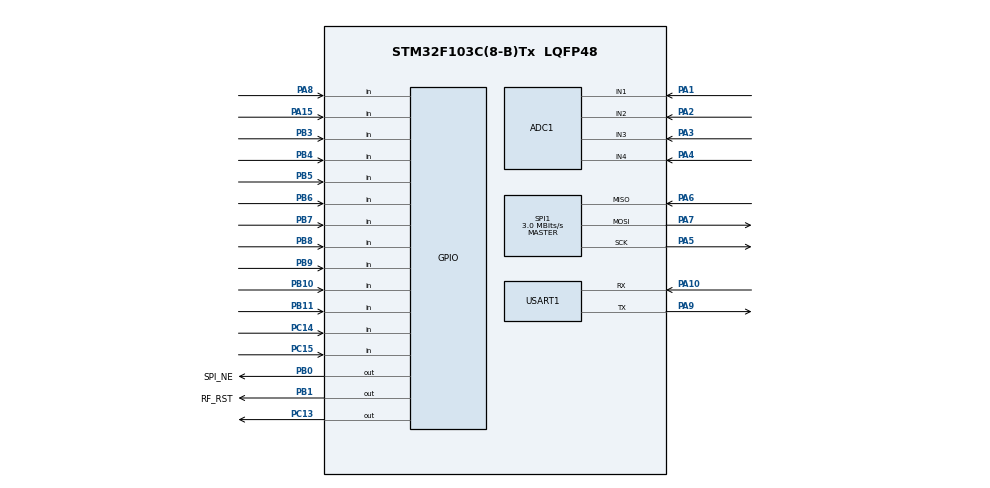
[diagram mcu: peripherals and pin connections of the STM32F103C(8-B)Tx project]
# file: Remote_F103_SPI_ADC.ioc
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ADC1.Channel-3\#ChannelRegularConversion=ADC_CHANNEL_1
ADC1.Channel-4\#ChannelRegularConversion=ADC_CHANNEL_2
ADC1.Channel-5\#ChannelRegularConversion=ADC_CHANNEL_3
ADC1.Channel-6\#ChannelRegularConversion=ADC_CHANNEL_4
ADC1.ContinuousConvMode=ENABLE
ADC1.NbrOfConversion=4
ADC1.NbrOfConversionFlag=1
ADC1.Rank-3\#ChannelRegularConversion=1
ADC1.Rank-4\#ChannelRegularConversion=2
ADC1.Rank-5\#ChannelRegularConversion=3
ADC1.Rank-6\#ChannelRegularConversion=4
ADC1.SamplingTime-3\#ChannelRegularConversion=ADC_SAMPLETIME_55CYCLES_5
ADC1.SamplingTime-4\#ChannelRegularConversion=ADC_SAMPLETIME_55CYCLES_5
ADC1.SamplingTime-5\#ChannelRegularConversion=ADC_SAMPLETIME_55CYCLES_5
ADC1.SamplingTime-6\#ChannelRegularConversion=ADC_SAMPLETIME_55CYCLES_5
ADC1.master=1
Dma.ADC1.0.Direction=DMA_PERIPH_TO_MEMORY
Dma.ADC1.0.Instance=DMA1_Channel1
Dma.ADC1.0.MemDataAlignment=DMA_MDATAALIGN_HALFWORD
Dma.ADC1.0.MemInc=DMA_MINC_ENABLE
Dma.ADC1.0.Mode=DMA_CIRCULAR
Dma.ADC1.0.PeriphDataAlignment=DMA_PDATAALIGN_HALFWORD
Dma.ADC1.0.PeriphInc=DMA_PINC_DISABLE
Dma.ADC1.0.Priority=DMA_PRIORITY_MEDIUM
Dma.Request0=ADC1
Dma.Request1=USART1_RX
Dma.USART1_RX.1.Direction=DMA_PERIPH_TO_MEMORY
Dma.USART1_RX.1.Instance=DMA1_Channel5
Dma.USART1_RX.1.MemDataAlignment=DMA_MDATAALIGN_BYTE
Dma.USART1_RX.1.MemInc=DMA_MINC_ENABLE
Dma.USART1_RX.1.Mode=DMA_NORMAL
Dma.USART1_RX.1.PeriphDataAlignment=DMA_PDATAALIGN_BYTE
Dma.USART1_RX.1.PeriphInc=DMA_PINC_DISABLE
Dma.USART1_RX.1.Priority=DMA_PRIORITY_LOW
Mcu.Family=STM32F1
Mcu.Name=STM32F103C(8-B)Tx
Mcu.Package=LQFP48
NVIC.DMA1_Channel1_IRQn=true\:0\:0\:true\:false\:true\:false\:true
NVIC.DMA1_Channel5_IRQn=true\:0\:0\:false\:false\:true\:false\:true
NVIC.PriorityGroup=NVIC_PRIORITYGROUP_4
PA0-WKUP.Mode=SYS_WakeUp0
PA0-WKUP.Signal=SYS_WKUP
PA1.Signal=ADCx_IN1
PA10.GPIO_PuPd=GPIO_PULLUP
PA10.Mode=Asynchronous
PA10.Signal=USART1_RX
PA13.Mode=Serial_Wire
PA13.Signal=SYS_JTMS-SWDIO
PA14.Mode=Serial_Wire
PA14.Signal=SYS_JTCK-SWCLK
PA15.GPIO_PuPd=GPIO_PULLDOWN
PA15.Signal=GPIO_Input
PA2.Signal=ADCx_IN2
PA3.Signal=ADCx_IN3
PA4.Signal=ADCx_IN4
PA5.Mode=Full_Duplex_Master
PA5.Signal=SPI1_SCK
PA6.Mode=Full_Duplex_Master
PA6.Signal=SPI1_MISO
PA7.Mode=Full_Duplex_Master
PA7.Signal=SPI1_MOSI
PA8.GPIO_PuPd=GPIO_PULLDOWN
PA8.Signal=GPIO_Input
PA9.Mode=Asynchronous
PA9.Signal=USART1_TX
PB0.GPIO_Label=SPI_NE
PB0.GPIO_ModeDefaultOutputPP=GPIO_MODE_OUTPUT_PP
PB0.GPIO_PuPd=GPIO_PULLUP
PB0.GPIO_Speed=GPIO_SPEED_FREQ_HIGH
PB0.Signal=GPIO_Output
PB1.GPIO_Label=RF_RST
PB1.GPIO_ModeDefaultOutputPP=GPIO_MODE_OUTPUT_PP
PB1.GPIO_PuPd=GPIO_PULLUP
PB1.GPIO_Speed=GPIO_SPEED_FREQ_HIGH
PB1.Signal=GPIO_Output
PB10.GPIO_PuPd=GPIO_PULLDOWN
PB10.Signal=GPIO_Input
PB11.GPIO_PuPd=GPIO_PULLDOWN
PB11.Signal=GPIO_Input
PB3.GPIO_PuPd=GPIO_PULLDOWN
PB3.Signal=GPIO_Input
PB4.GPIO_PuPd=GPIO_PULLDOWN
PB4.Signal=GPIO_Input
PB5.GPIO_PuPd=GPIO_PULLDOWN
PB5.Signal=GPIO_Input
PB6.GPIO_PuPd=GPIO_PULLDOWN
PB6.Signal=GPIO_Input
PB7.GPIO_PuPd=GPIO_PULLDOWN
PB7.Signal=GPIO_Input
PB8.GPIO_PuPd=GPIO_PULLDOWN
PB8.Signal=GPIO_Input
PB9.GPIO_PuPd=GPIO_PULLDOWN
PB9.Signal=GPIO_Input
PC13-TAMPER-RTC.GPIO_ModeDefaultOutputPP=GPIO_MODE_OUTPUT_PP
PC13-TAMPER-RTC.GPIO_PuPd=GPIO_PULLUP
PC13-TAMPER-RTC.GPIO_Speed=GPIO_SPEED_FREQ_HIGH
PC13-TAMPER-RTC.Signal=GPIO_Output
PC14-OSC32_IN.GPIO_PuPd=GPIO_PULLDOWN
PC14-OSC32_IN.Signal=GPIO_Input
PC15-OSC32_OUT.GPIO_PuPd=GPIO_PULLDOWN
PC15-OSC32_OUT.Signal=GPIO_Input
PD0-OSC_IN.Mode=HSE-External-Oscillator
PD0-OSC_IN.Signal=RCC_OSC_IN
PD1-OSC_OUT.Mode=HSE-External-Oscillator
PD1-OSC_OUT.Signal=RCC_OSC_OUT
ProjectManager.HeapSize=0x200
ProjectManager.StackSize=0x400
ProjectManager.TargetToolchain=MDK-ARM V5.27
RCC.ADCPresc=RCC_ADCPCLK2_DIV8
RCC.AHBFreq_Value=24000000
RCC.APB1CLKDivider=RCC_HCLK_DIV2
RCC.APB1Freq_Value=12000000
RCC.APB1TimFreq_Value=24000000
RCC.APB2Freq_Value=24000000
RCC.APB2TimFreq_Value=24000000
RCC.HCLKFreq_Value=24000000
RCC.PLLMUL=RCC_PLL_MUL3
RCC.PLLSourceVirtual=RCC_PLLSOURCE_HSE
RCC.SYSCLKFreq_VALUE=24000000
RCC.SYSCLKSource=RCC_SYSCLKSOURCE_PLLCLK
RCC.USBFreq_Value=24000000
SH.ADCx_IN1.0=ADC1_IN1,IN1
SH.ADCx_IN2.0=ADC1_IN2,IN2
SH.ADCx_IN3.0=ADC1_IN3,IN3
SH.ADCx_IN4.0=ADC1_IN4,IN4
SPI1.BaudRatePrescaler=SPI_BAUDRATEPRESCALER_8
SPI1.CalculateBaudRate=3.0 MBits/s
SPI1.Direction=SPI_DIRECTION_2LINES
SPI1.Mode=SPI_MODE_MASTER
SPI1.VirtualType=VM_MASTER
USART1.VirtualMode=VM_ASYNC
board=custom

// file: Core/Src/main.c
/* USER CODE BEGIN Header */
/**
  ******************************************************************************
  * @file           : main.c
  * @brief          : Main program body
  ******************************************************************************
  * @attention
  *
  * <h2><center>&copy; Copyright (c) 2021 STMicroelectronics.
  * All rights reserved.</center></h2>
  *
  * This software component is licensed by ST under BSD 3-Clause license,
  * the "License"; You may not use this file except in compliance with the
  * License. You may obtain a copy of the License at:
  *                        opensource.org/licenses/BSD-3-Clause
  *
  ******************************************************************************
  */
/* USER CODE END Header */
#include "main.h"
#include "adc.h"
#include "dma.h"
#include "spi.h"
#include "usart.h"
#include "gpio.h"

/* USER CODE BEGIN Includes */
#include "stdio.h"
#include "SX1231_APP.h"

/* USER CODE END Includes */

/* USER CODE BEGIN PV */
uint16_t ADC_Val[4];

/* USER CODE END PV */

void SystemClock_Config(void);

int main(void)
{
  /* USER CODE BEGIN 1 */
	int i, a, b, c, d, uart_rx_invalid;
	uint8_t bfr[SX1231_PayloadLength];
	__IO uint8_t UART_Buf[24];
  /* USER CODE END 1 */

  /* MCU Configuration--------------------------------------------------------*/

  /* Reset of all peripherals, Initializes the Flash interface and the Systick. */

  LL_APB2_GRP1_EnableClock(LL_APB2_GRP1_PERIPH_AFIO);
  LL_APB1_GRP1_EnableClock(LL_APB1_GRP1_PERIPH_PWR);

  NVIC_SetPriorityGrouping(NVIC_PRIORITYGROUP_4);

  /* System interrupt init*/

  /** NOJTAG: JTAG-DP Disabled and SW-DP Enabled
  */
  LL_GPIO_AF_Remap_SWJ_NOJTAG();

  /* Configure the system clock */
  SystemClock_Config();

  /* Initialize all configured peripherals */
  MX_GPIO_Init();
  MX_DMA_Init();
  MX_SPI1_Init();
  MX_ADC1_Init();
  MX_USART1_UART_Init();
  /* USER CODE BEGIN 2 */
	LL_SPI_Enable(SPI1);

	LL_DMA_SetDataLength(DMA1, LL_DMA_CHANNEL_1, 4);
	LL_DMA_SetPeriphAddress(DMA1, LL_DMA_CHANNEL_1, LL_ADC_DMA_GetRegAddr(ADC1, LL_ADC_DMA_REG_REGULAR_DATA));
	LL_DMA_SetMemoryAddress(DMA1, LL_DMA_CHANNEL_1, (uint32_t)ADC_Val);
	LL_DMA_EnableChannel(DMA1, LL_DMA_CHANNEL_1);

	LL_ADC_Enable(ADC1);
	LL_ADC_StartCalibration(ADC1);
	while(LL_ADC_IsCalibrationOnGoing(ADC1));

	LL_ADC_REG_SetDMATransfer(ADC1,LL_ADC_REG_DMA_TRANSFER_UNLIMITED);

	LL_DMA_SetDataLength(DMA1, LL_DMA_CHANNEL_5, 24);
	LL_DMA_SetPeriphAddress(DMA1, LL_DMA_CHANNEL_5, LL_USART_DMA_GetRegAddr(USART1));
	LL_DMA_SetMemoryAddress(DMA1, LL_DMA_CHANNEL_5, (uint32_t)UART_Buf);
	LL_DMA_EnableChannel(DMA1, LL_DMA_CHANNEL_5);
	LL_USART_EnableDMAReq_RX(USART1);

	//printf("%d", sizeof(float));
	LL_GPIO_ResetOutputPin(GPIOC, LL_GPIO_PIN_13);

	SX1231_Init_Primary();
  while (!SX1231_IsActiveFlag_ModeReady(&SX1231_Primary))
  {
    //printf("wait\r\n");
  }

  while(1)
	{
		if(LL_DMA_IsActiveFlag_TC5(DMA1))
		{
			uart_rx_invalid = 0;
			LL_DMA_DisableChannel(DMA1, LL_DMA_CHANNEL_5);
			LL_DMA_ClearFlag_TC5(DMA1);
			LL_USART_ClearFlag_IDLE(USART1);
			LL_DMA_SetDataLength(DMA1, LL_DMA_CHANNEL_5, 24);
			LL_DMA_EnableChannel(DMA1, LL_DMA_CHANNEL_5);

			UART_Buf[15] = 0;
		}
		else
		{
			uart_rx_invalid++;
			if(uart_rx_invalid > 10)
			{
				uart_rx_invalid = 0;
				LL_DMA_DisableChannel(DMA1, LL_DMA_CHANNEL_5);
				LL_USART_DisableDMAReq_RX(USART1);
				LL_USART_EnableDMAReq_RX(USART1);
				LL_DMA_SetDataLength(DMA1, LL_DMA_CHANNEL_5, 24);
				LL_DMA_EnableChannel(DMA1, LL_DMA_CHANNEL_5);
				UART_Buf[0] = 9;
				UART_Buf[1] = 3;
				UART_Buf[2] = 2;
				UART_Buf[3] = 7;
				UART_Buf[4] = 10;
				UART_Buf[5] = 4;
			}
		}

		a = (LL_GPIO_IsInputPinSet(GPIOA, LL_GPIO_PIN_8) ? 0x01 : 0 ) +
				(LL_GPIO_IsInputPinSet(GPIOA, LL_GPIO_PIN_15) ? 0x02 : 0 ) +
				(LL_GPIO_IsInputPinSet(GPIOB, LL_GPIO_PIN_3) ? 0x04 : 0 ) +
				(LL_GPIO_IsInputPinSet(GPIOB, LL_GPIO_PIN_4) ? 0x08 : 0 ) +
				(LL_GPIO_IsInputPinSet(GPIOB, LL_GPIO_PIN_5) ? 0x10 : 0 ) +
				(LL_GPIO_IsInputPinSet(GPIOB, LL_GPIO_PIN_6) ? 0x20 : 0 ) +
				(LL_GPIO_IsInputPinSet(GPIOB, LL_GPIO_PIN_7) ? 0x40 : 0 ) +
				(LL_GPIO_IsInputPinSet(GPIOB, LL_GPIO_PIN_8) ? 0x80 : 0 ) ;

		b = (LL_GPIO_IsInputPinSet(GPIOB, LL_GPIO_PIN_9) ? 0x01 : 0 ) +
				(LL_GPIO_IsInputPinSet(GPIOB, LL_GPIO_PIN_10) ? 0x02 : 0 ) +
				(LL_GPIO_IsInputPinSet(GPIOB, LL_GPIO_PIN_11) ? 0x04 : 0 ) +
				(LL_GPIO_IsInputPinSet(GPIOC, LL_GPIO_PIN_14) ? 0x08 : 0 ) +
				(LL_GPIO_IsInputPinSet(GPIOC, LL_GPIO_PIN_15) ? 0x10 : 0 ) ;

		//printf("%02x %02x %03x %03x %03x %03x\r\n", a, b, ADC_Val[0], ADC_Val[1], ADC_Val[2], ADC_Val[3]);
		bfr[0] = 0x23;
		bfr[1] = 0x33;
		bfr[2] = a;
		bfr[3] = b;
		bfr[4] = ADC_Val[0] >> 8;
		bfr[5] = ADC_Val[0] & 0xff;
		bfr[6] = ADC_Val[1] >> 8;
		bfr[7] = ADC_Val[1] & 0xff;
		bfr[8] = ADC_Val[2] >> 8;
		bfr[9] = ADC_Val[2] & 0xff;
		bfr[10] = ADC_Val[3] >> 8;
		bfr[11] = ADC_Val[3] & 0xff;

		bfr[12] = UART_Buf[0];
		bfr[13] = UART_Buf[1];
		bfr[14] = UART_Buf[2];
		bfr[15] = UART_Buf[3];
		bfr[16] = UART_Buf[4];
		bfr[17] = UART_Buf[5];

		bfr[18] = UART_Buf[6];
		bfr[19] = UART_Buf[7];
		bfr[20] = UART_Buf[8];
		bfr[21] = UART_Buf[9];
		bfr[22] = UART_Buf[10];
		bfr[23] = UART_Buf[11];

		bfr[24] = UART_Buf[12];
		bfr[25] = UART_Buf[13];
		bfr[26] = UART_Buf[14];
		bfr[27] = UART_Buf[15];
		bfr[28] = UART_Buf[16];
		bfr[29] = UART_Buf[17];

		bfr[30] = UART_Buf[18];
		bfr[31] = UART_Buf[19];
		bfr[32] = UART_Buf[20];
		bfr[33] = UART_Buf[21];
		bfr[34] = UART_Buf[22];
		bfr[35] = UART_Buf[23];

		printf("kP = %f, kI = %f, kD = %f\r\n", (float)bfr[12] + (float)bfr[13] / 10, (float)bfr[14] + (float)bfr[15] / 10, (float)bfr[16] + (float)bfr[17] / 10);

		SX1231_Primary_TransmitPacket(bfr);
  }

  /* USER CODE END 2 */

  /* Infinite loop */
  while (1)
  {

  }
}

void SystemClock_Config(void)
{
  LL_FLASH_SetLatency(LL_FLASH_LATENCY_0);
  while(LL_FLASH_GetLatency()!= LL_FLASH_LATENCY_0)
  {
  }
  LL_RCC_HSE_Enable();

   /* Wait till HSE is ready */
  while(LL_RCC_HSE_IsReady() != 1)
  {

  }
  LL_RCC_PLL_ConfigDomain_SYS(LL_RCC_PLLSOURCE_HSE_DIV_1, LL_RCC_PLL_MUL_3);
  LL_RCC_PLL_Enable();

   /* Wait till PLL is ready */
  while(LL_RCC_PLL_IsReady() != 1)
  {

  }
  LL_RCC_SetAHBPrescaler(LL_RCC_SYSCLK_DIV_1);
  LL_RCC_SetAPB1Prescaler(LL_RCC_APB1_DIV_2);
  LL_RCC_SetAPB2Prescaler(LL_RCC_APB2_DIV_1);
  LL_RCC_SetSysClkSource(LL_RCC_SYS_CLKSOURCE_PLL);

   /* Wait till System clock is ready */
  while(LL_RCC_GetSysClkSource() != LL_RCC_SYS_CLKSOURCE_STATUS_PLL)
  {

  }
  LL_Init1msTick(24000000);
  LL_SetSystemCoreClock(24000000);
  LL_RCC_SetADCClockSource(LL_RCC_ADC_CLKSRC_PCLK2_DIV_8);
}

/* USER CODE BEGIN 4 */
int fputc(int ch, FILE* f)
{
	LL_USART_TransmitData8(USART1, (unsigned char)ch);
	while(!LL_USART_IsActiveFlag_TXE(USART1));
	return ch;
}

/* USER CODE END 4 */

void Error_Handler(void)
{
  __disable_irq();
  while (1)
  {
  }
}

/************************ (C) COPYRIGHT STMicroelectronics *****END OF FILE****/
